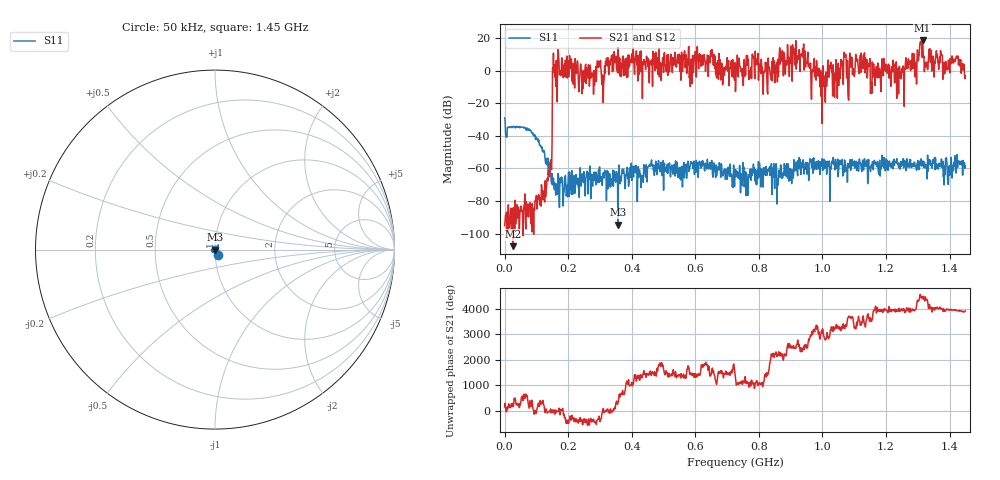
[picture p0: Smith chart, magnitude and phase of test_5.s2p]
! Created with skrf 1.11.0 (http://scikit-rf.org).
# Hz S RI R 50.0
!freq ReS11 ImS11 ReS21 ImS21 ReS12 ImS12 ReS22 ImS22
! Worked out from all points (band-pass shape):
!   1001 points, 50 kHz to 1.45 GHz, reference 50 ohm
!   highest |S21| = 18.56 dB at 1.315 GHz (marker M1); lowest = -107.7 dB at 26.15 MHz (marker M2)
!   |S21| within 3 dB of the highest: 890.2651 MHz to 890.412 MHz (146.9 kHz wide, 0.0165 % of centre); 1.30643 GHz to 1.31233 GHz (5.901 MHz wide, 0.451 % of centre) (the widest 2 of 6)
!   lowest |S11| = -94.6 dB at 356.7 MHz (marker M3), VSWR 1.00, Z = 50 - j0.0005 ohm
!   |S11| at or under -10 dB: start of sweep to end of sweep
!   |S22| runs from - to - dB; largest |S21 - S12| = 0
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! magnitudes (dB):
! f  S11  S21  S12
! 50 kHz  -29.0  -95.1  -95.1
! 26.15 MHz  -34.6  -107.7  -107.7
! 81.25 MHz  -36.6  -82.8  -82.8
! 126.2 MHz  -51.4  -80.6  -80.6
! 142.1 MHz  -57.7  -65.1  -65.1
! 156.6 MHz  -72.9  3.7  3.7
! 161 MHz  -76.4  -9.8  -9.8
! 242.2 MHz  -67.2  0.4  0.4
! 356.7 MHz  -94.6  14.2  14.2
! 484.3 MHz  -55.1  1.5  1.5
! 655.4 MHz  -65.3  9.2  9.2
! 725 MHz  -64.3  4.9  4.9
! 785.9 MHz  -59.4  0.3  0.3
! 820.7 MHz  -64.3  5.2  5.2
! 933.8 MHz  -57.6  10.3  10.3
! 967.2 MHz  -59.6  -2.4  -2.4
! 1.006 GHz  -57.4  -3.2  -3.2
! 1.067 GHz  -58.4  9.8  9.8
! 1.083 GHz  -59.3  -18.1  -18.1
! 1.209 GHz  -58.3  -4.5  -4.5
! 1.315 GHz  -55.5  18.6  18.6
! 1.45 GHz  -58.3  -3.1  -3.1
